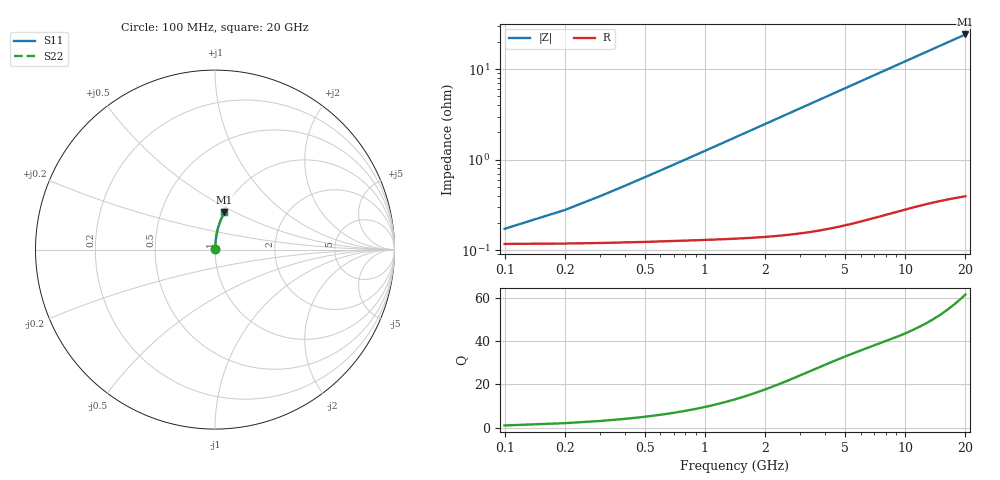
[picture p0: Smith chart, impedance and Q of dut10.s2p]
! Touchstone file exported from HFSS 2024.1.0
!  File:  C:/UserFiles/LocalFiles/RDL_TSV_Batchsim/temp_RDL_bottom_10_1778691232.aedt
!  Generated:  12:56:40 AM May 14, 2026
!  Design:  RDL_bottom
!  Project:  temp_RDL_bottom_10_1778691232
!  Setup:  Setup1
!  Solution:  Sweep
! Variables:
!  dtsv = 10.80580581um
!  hbump = 3um
!  htsv = 63.95um
!  ldown = 125.96um
!  lrdl = 100um
!  p = 40
!  p1 = 59.58um
!  rhole = 1um
!  t = 450um
!  tdown = 4.21um
!  trdl = 3.915915916um
!  wdown = 10.1um
!  wrdl = 20um
# GHz S MA R 50.000000
! Terminal data exported
! Port[1] = RDL1_T1
! Port[2] = RDL1_T2
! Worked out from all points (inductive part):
!   200 points, 100 MHz to 20 GHz, reference 50 ohm
!   read as one part in series: L = 200 pH near 300 MHz
!   highest Q = 61.4 at 20 GHz (marker M1), where L = 193 pH
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0.1  0.001607 43.2  0.9988 -0.1  0.9988 -0.1  0.001607 43.2
! Gamma 0 0 0 0
! Port Impedance 50 0 50 0
0.2  0.002496 61.6  0.9988 -0.2  0.9988 -0.2  0.002496 61.6
0.3  0.0035 69.8  0.9988 -0.2  0.9988 -0.2  0.0035 69.8
0.4  0.00454 74.3  0.9988 -0.3  0.9988 -0.3  0.00454 74.3
0.5  0.005592 77.0  0.9987 -0.4  0.9987 -0.4  0.005592 77.0
0.6  0.006651 78.9  0.9987 -0.5  0.9987 -0.5  0.006651 78.9
0.8  0.008778 81.3  0.9986 -0.6  0.9986 -0.6  0.008778 81.3
1.1  0.01198 83.2  0.9985 -0.9  0.9985 -0.9  0.01198 83.2
1.5  0.01627 84.6  0.9984 -1.2  0.9984 -1.2  0.01627 84.6
1.8  0.0195 85.1  0.9982 -1.4  0.9982 -1.4  0.0195 85.1
2.1  0.02272 85.5  0.9981 -1.7  0.9981 -1.7  0.02272 85.5
2.7  0.02919 85.8  0.9976 -2.2  0.9976 -2.2  0.02919 85.8
3.5  0.03783 85.9  0.9969 -2.8  0.9969 -2.8  0.03783 85.9
4.2  0.0454 85.8  0.9962 -3.3  0.9962 -3.3  0.0454 85.8
5  0.05406 85.5  0.9953 -3.9  0.9953 -3.9  0.05406 85.5
5.9  0.06382 85.1  0.9941 -4.6  0.9941 -4.6  0.06382 85.1
6.8  0.07359 84.7  0.9928 -5.3  0.9928 -5.3  0.07359 84.7
8.3  0.08988 83.8  0.9904 -6.5  0.9904 -6.5  0.08988 83.8
10.1  0.1094 82.7  0.9873 -7.8  0.9873 -7.8  0.1094 82.7
13.4  0.145 80.5  0.9809 -10.2  0.9809 -10.2  0.1449 80.5
16.7  0.18 78.2  0.9736 -12.6  0.9736 -12.6  0.18 78.2
20  0.2142 75.9  0.9655 -14.9  0.9655 -14.9  0.2142 75.9
